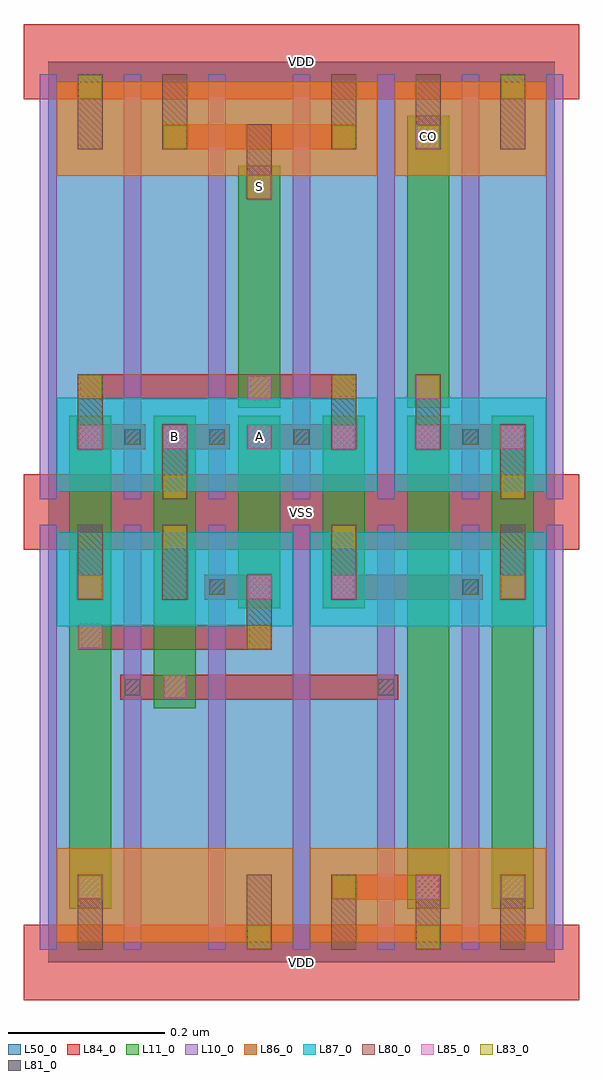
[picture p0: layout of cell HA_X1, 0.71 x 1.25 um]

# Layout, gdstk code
import gdstk
lib = gdstk.Library(unit=1e-6, precision=1e-09)
def R(c, l, rs):  # rectangles x0, y0, x1, y1
    for r in rs: c.add(gdstk.rectangle(r[:2], r[2:], *l))
def A(c, l, x, y, w, h, nx, ny, dx, dy):  # array of equal rectangles
    R(c, l, [(x+i*dx, y+j*dy, x+i*dx+w, y+j*dy+h) for i in range(nx) for j in range(ny)])
L10_0 = (10, 0)
L11_0 = (11, 0)
L50_0 = (50, 0)
L80_0 = (80, 0)
L81_0 = (81, 0)
L83_0 = (83, 0)
L84_0 = (84, 0)
L85_0 = (85, 0)
L86_0 = (86, 0)
L87_0 = (87, 0)

ha_x1 = lib.new_cell('HA_X1')
A(ha_x1, L10_0, -0.011, 0.016, 0.022, 0.544, 7, 2, 0.108, 0.576)
R(ha_x1, L11_0, [(0.027,0.069,0.081,0.699), (0.459,0.069,0.513,0.699), (0.567,0.069,0.621,0.699), (0.135,0.325,0.189,0.699), (0.243,0.453,0.297,0.699), (0.351,0.453,0.405,0.699), (0.243,0.709,0.297,1.019), (0.459,0.709,0.513,1.083)])
R(ha_x1, L50_0, [(0,0,0.648,1.152)])
A(ha_x1, L80_0, 0.254, 0.016, 0.032, 0.096, 4, 1, 0.108, 0)
A(ha_x1, L80_0, 0.146, 0.464, 0.032, 0.096, 3, 1, 0.216, 0)
A(ha_x1, L80_0, 0.362, 1.04, 0.032, 0.096, 3, 1, 0.108, 0)
R(ha_x1, L80_0, [(0.038,0.016,0.07,0.112), (0.254,0.4,0.286,0.496), (0.038,0.464,0.07,0.56), (0.146,0.592,0.178,0.688), (0.578,0.592,0.61,0.688), (0.038,0.656,0.07,0.752), (0.362,0.656,0.394,0.752), (0.47,0.656,0.502,0.752), (0.254,0.976,0.286,1.072), (0.038,1.04,0.07,1.136), (0.146,1.04,0.178,1.136)])
A(ha_x1, L81_0, 0.098, 0.662, 0.02, 0.02, 3, 1, 0.108, 0)
R(ha_x1, L81_0, [(0.098,0.342,0.118,0.362), (0.422,0.342,0.442,0.362), (0.206,0.47,0.226,0.49), (0.53,0.47,0.55,0.49), (0.53,0.662,0.55,0.682)])
R(ha_x1, L83_0, [(0.256,0.018,0.284,0.046), (0.472,0.018,0.5,0.046), (0.04,0.082,0.068,0.11), (0.364,0.082,0.392,0.11), (0.58,0.082,0.608,0.11), (0.256,0.402,0.284,0.43), (0.04,0.466,0.068,0.494), (0.58,0.466,0.608,0.494), (0.148,0.53,0.176,0.558), (0.364,0.53,0.392,0.558), (0.148,0.594,0.176,0.622), (0.58,0.594,0.608,0.622), (0.04,0.722,0.068,0.75), (0.364,0.722,0.392,0.75), (0.472,0.722,0.5,0.75), (0.256,0.978,0.284,1.006), (0.148,1.042,0.176,1.07), (0.364,1.042,0.392,1.07), (0.472,1.042,0.5,1.07), (0.04,1.106,0.068,1.134), (0.58,1.106,0.608,1.134)])
A(ha_x1, L84_0, -0.031, -0.048, 0.71, 0.096, 1, 3, 0, 0.576)
R(ha_x1, L84_0, [(0.038,0.08,0.07,0.112), (0.362,0.08,0.502,0.112), (0.578,0.08,0.61,0.112), (0.092,0.336,0.448,0.368), (0.038,0.4,0.286,0.432), (0.038,0.464,0.07,0.496), (0.2,0.464,0.286,0.496), (0.362,0.464,0.556,0.496), (0.578,0.464,0.61,0.496), (0.038,0.656,0.124,0.688), (0.146,0.656,0.232,0.688), (0.254,0.656,0.394,0.688), (0.47,0.656,0.61,0.688), (0.038,0.72,0.394,0.752), (0.47,0.72,0.502,0.752), (0.254,0.976,0.286,1.008), (0.146,1.04,0.394,1.072), (0.47,1.04,0.502,1.072)])
A(ha_x1, L85_0, 0.255, 0.465, 0.03, 0.03, 1, 3, 0, 0.256)
A(ha_x1, L85_0, 0.039, 0.657, 0.03, 0.03, 6, 1, 0.108, 0)
R(ha_x1, L85_0, [(0.039,0.081,0.069,0.111), (0.471,0.081,0.501,0.111), (0.579,0.081,0.609,0.111), (0.147,0.337,0.177,0.367), (0.039,0.401,0.069,0.431), (0.039,0.465,0.069,0.495), (0.363,0.465,0.393,0.495), (0.579,0.465,0.609,0.495), (0.471,0.721,0.501,0.751), (0.471,1.041,0.501,1.071)])
R(ha_x1, L86_0, [(0.011,0.026,0.313,0.146), (0.335,0.026,0.637,0.146), (0.011,1.006,0.421,1.126), (0.443,1.006,0.637,1.126)])
R(ha_x1, L87_0, [(0.011,0.43,0.313,0.55), (0.335,0.43,0.637,0.55), (0.011,0.602,0.421,0.722), (0.443,0.602,0.637,0.722)])
ha_x1.add(gdstk.Label('VDD', (0.324,1.152), layer=88, texttype=0))
ha_x1.add(gdstk.Label('VDD', (0.324,0), layer=88, texttype=0))
ha_x1.add(gdstk.Label('VSS', (0.324,0.576), layer=88, texttype=0))
ha_x1.add(gdstk.Label('CO', (0.486,1.056), layer=31, texttype=0))
ha_x1.add(gdstk.Label('A', (0.27,0.672), layer=31, texttype=0))
ha_x1.add(gdstk.Label('B', (0.162,0.672), layer=31, texttype=0))
ha_x1.add(gdstk.Label('S', (0.27,0.992), layer=31, texttype=0))

lib.write_gds('HA_X1.gds')
